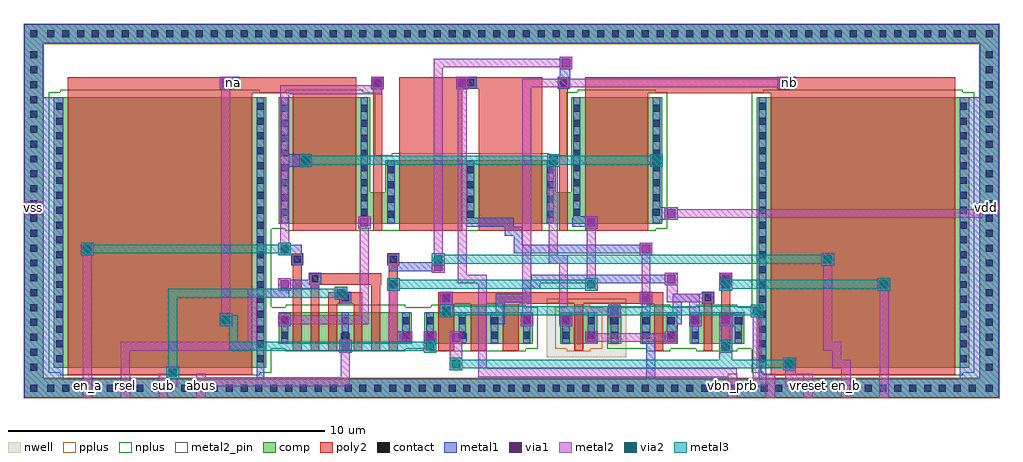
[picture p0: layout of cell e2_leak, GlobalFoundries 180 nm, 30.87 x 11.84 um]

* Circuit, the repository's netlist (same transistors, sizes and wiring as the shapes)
* LVS reference for e2_leak (layout/e2/e2gen.py): E2 leakage test cell, MIL-362
.subckt e2_leak vdd vss vreset abus vbn_prb grp_en clamp_en en_a en_b rsel sub
XMFA vdd na pa vss nfet_03v3 W=4u L=2u
XMEA pa en_a sa vss nfet_03v3 W=1u L=0.28u
XMBA sa vbn_prb vss vss nfet_03v3 W=2u L=2u
XMBB sb vbn_prb vss vss nfet_03v3 W=2u L=2u
XMEB pb en_b sb vss nfet_03v3 W=1u L=0.28u
XMFB vdd nb pb vss nfet_03v3 W=4u L=2u
XSCA pa en_a mca vss nfet_03v3 W=1u L=0.28u
XSWA mca rsel ma vss nfet_03v3 W=1u L=0.28u
XSBA ma sub abus vss nfet_03v3 W=1u L=0.28u
XSBB mb sub abus vss nfet_03v3 W=1u L=0.28u
XSWB mcb rsel mb vss nfet_03v3 W=1u L=0.28u
XSCB pb en_b mcb vss nfet_03v3 W=1u L=0.28u
XSA vreset grp_en na vss nfet_03v3 W=1u L=0.5u
XSB1 vreset grp_en mid vss nfet_03v3 W=1u L=0.5u
XSB2 mid grp_en nb vss nfet_03v3 W=1u L=0.5u
XPI gb grp_en vdd vdd pfet_03v3 W=1u L=0.28u
XNI gb grp_en vss vss nfet_03v3 W=1u L=0.28u
XNG cx gb mid vss nfet_03v3 W=1u L=0.28u
XNC vreset clamp_en cx vss nfet_03v3 W=1u L=0.28u
XCA vss na vss vss nfet_03v3 W=8.56u L=5.84u
XCB vss nb vss vss nfet_03v3 W=8.56u L=5.84u
.ends e2_leak

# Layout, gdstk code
import gdstk
lib = gdstk.Library(unit=1e-6, precision=1e-09)
def R(c, l, rs):  # rectangles x0, y0, x1, y1
    for r in rs: c.add(gdstk.rectangle(r[:2], r[2:], *l))
def A(c, l, x, y, w, h, nx, ny, dx, dy):  # array of equal rectangles
    R(c, l, [(x+i*dx, y+j*dy, x+i*dx+w, y+j*dy+h) for i in range(nx) for j in range(ny)])
nwell = (21, 0)
comp = (22, 0)
poly2 = (30, 0)
pplus = (31, 0)
nplus = (32, 0)
contact = (33, 0)
metal1 = (34, 0)
via1 = (35, 0)
metal2 = (36, 0)
metal2_pin = (36, 10)
via2 = (38, 0)
metal3 = (42, 0)

e2_leak = lib.new_cell('e2_leak')
R(e2_leak, nwell, [(16.53,1.27,19.04,3.13)])
R(e2_leak, comp, [(0,0,30.83,0.6), (0,0.6,0.6,11.2), (30.23,0.6,30.83,11.2), (0.94,0.94,7.66,9.5), (23.17,0.94,29.89,9.5), (8.06,1.7,12.26,2.7), (12.66,1.7,16.08,2.7), (16.96,1.7,18.12,2.7), (18.46,1.7,18.88,2.7), (19.49,1.7,20.65,2.7), (21.05,1.7,22.77,2.7), (8.06,5.5,20.18,6.5), (8.06,6.5,10.94,9.5), (11.42,6.5,16.82,7.5), (17.3,6.5,20.18,9.5), (0,11.2,30.83,11.8)])
A(e2_leak, poly2, 13.1, 1.48, 0.5, 1.49, 3, 1, 1.02, 0)
R(e2_leak, poly2, [(1.38,0.72,7.22,9.62), (23.61,0.72,29.45,9.62), (8.5,1.48,8.78,4.19), (9.06,1.48,9.34,3.57), (9.62,1.48,9.9,2.97), (10.42,1.48,10.7,2.97), (10.98,1.48,11.26,3.57), (11.54,1.48,11.82,4.19), (17.4,1.48,17.68,2.97), (19.93,1.48,20.21,2.97), (21.49,1.48,21.77,2.97), (22.05,1.48,22.33,3.58), (9.62,2.97,10.7,3.33), (13.1,2.97,20.21,3.33), (21.45,2.97,21.81,3.33), (9.02,3.57,11.3,3.93), (22.01,3.58,22.37,3.94), (8.46,4.19,8.82,4.55), (11.5,4.19,11.86,4.55), (8.5,5.28,10.5,9.62), (11.04,5.28,11.32,9.77), (11.86,5.28,13.86,9.77), (14.38,5.28,16.38,9.77), (16.92,5.28,17.2,9.77), (17.74,5.28,19.74,9.62), (1.38,9.62,10.5,10.13), (17.74,9.62,29.45,10.13), (11,9.77,11.36,10.13), (11.86,9.77,16.38,10.13), (16.88,9.77,17.24,10.13)])
R(e2_leak, pplus, [(-0.02,-0.02,30.85,0.62), (-0.02,0.62,0.62,11.18), (30.21,0.62,30.85,11.18), (17.17,1.47,17.91,1.54), (16.8,1.54,18.28,2.86), (17.17,2.86,17.91,2.93), (-0.02,11.18,30.85,11.82)])
R(e2_leak, nplus, [(1.15,0.71,7.45,0.78), (23.38,0.71,29.68,0.78), (0.78,0.78,7.82,1.54), (23.01,0.78,30.05,1.54), (8.27,1.47,12.05,1.54), (12.87,1.47,15.87,1.54), (19.7,1.47,20.44,1.54), (21.26,1.47,22.56,1.54), (0.78,1.54,16.24,2.86), (18.45,1.54,30.05,1.68), (18.44,1.68,30.05,2.72), (18.45,2.72,30.05,2.86), (0.78,2.86,7.82,5.34), (8.27,2.86,12.05,2.93), (12.87,2.86,15.87,2.93), (19.7,2.86,20.44,2.93), (21.26,2.86,22.56,2.93), (23.01,2.86,30.05,9.66), (8.27,5.27,19.97,5.34), (0.78,5.34,20.34,7.66), (0.78,7.66,11.1,9.66), (11.63,7.66,16.61,7.73), (17.14,7.66,20.34,9.66), (1.15,9.66,7.45,9.73), (8.27,9.66,10.73,9.73), (17.51,9.66,19.97,9.73), (23.38,9.66,29.68,9.73)])
A(e2_leak, contact, 0.735, 0.19, 0.22, 0.22, 63, 2, 0.47, 11.2)
A(e2_leak, contact, 0.19, 0.855, 0.22, 0.22, 1, 22, 0, 0.47)
A(e2_leak, contact, 30.42, 0.855, 0.22, 0.22, 1, 22, 0, 0.47)
A(e2_leak, contact, 1.01, 1.115, 0.22, 0.22, 1, 18, 0, 0.47)
A(e2_leak, contact, 7.37, 1.115, 0.22, 0.22, 1, 18, 0, 0.47)
A(e2_leak, contact, 23.24, 1.115, 0.22, 0.22, 1, 18, 0, 0.47)
A(e2_leak, contact, 29.6, 1.115, 0.22, 0.22, 1, 18, 0, 0.47)
A(e2_leak, contact, 8.13, 1.855, 0.22, 0.22, 3, 2, 1.92, 0.47)
A(e2_leak, contact, 12.73, 1.855, 0.22, 0.22, 4, 2, 1.02, 0.47)
A(e2_leak, contact, 11.49, 5.685, 0.22, 0.22, 3, 4, 2.52, 0.47)
A(e2_leak, contact, 8.13, 5.745, 0.22, 0.22, 1, 8, 0, 0.47)
A(e2_leak, contact, 10.65, 5.745, 0.22, 0.22, 1, 8, 0, 0.47)
A(e2_leak, contact, 17.37, 5.745, 0.22, 0.22, 1, 8, 0, 0.47)
A(e2_leak, contact, 19.89, 5.745, 0.22, 0.22, 1, 8, 0, 0.47)
A(e2_leak, contact, 11.07, 9.84, 0.22, 0.22, 3, 1, 2.94, 0)
R(e2_leak, contact, [(0.19,0.19,0.41,0.41), (30.42,0.19,30.64,0.41), (17.03,1.855,17.25,2.075), (17.83,1.855,18.05,2.075), (18.56,1.855,18.78,2.075), (19.56,1.855,19.78,2.075), (20.36,1.855,20.58,2.075), (21.12,1.855,21.34,2.075), (22.48,1.855,22.7,2.075), (17.03,2.325,17.25,2.545), (17.83,2.325,18.05,2.545), (18.56,2.325,18.78,2.545), (19.56,2.325,19.78,2.545), (20.36,2.325,20.58,2.545), (21.12,2.325,21.34,2.545), (22.48,2.325,22.7,2.545), (10.05,3.04,10.27,3.26), (13.24,3.04,13.46,3.26), (21.52,3.04,21.74,3.26), (9.09,3.64,9.31,3.86), (22.08,3.65,22.3,3.87), (8.53,4.26,8.75,4.48), (11.57,4.26,11.79,4.48), (6.51,9.84,6.73,10.06), (24.1,9.84,24.32,10.06), (0.19,11.39,0.41,11.61), (30.42,11.39,30.64,11.61)])
R(e2_leak, metal1, [(0,0,30.83,0.6), (0,0.6,1.235,9.49), (7.365,0.6,7.595,9.49), (19.68,0.6,19.96,1.71), (23.235,0.6,23.465,9.49), (29.595,0.6,30.83,9.49), (9.96,1.42,10.36,1.82), (11.88,1.7,12.28,2.1), (12.64,1.7,13.04,2.1), (13.46,1.7,13.86,1.71), (17.74,1.7,18.14,2.1), (20.27,1.7,20.67,2.1), (8.125,1.71,8.355,2.26), (13.46,1.71,13.975,1.76), (14.765,1.71,14.995,2.32), (15.785,1.71,16.015,2.26), (17.025,1.71,17.255,2.26), (18.555,1.71,18.785,2.32), (19.555,1.71,19.96,1.76), (21.115,1.71,21.345,2.26), (22.475,1.71,22.705,2.26), (13.46,1.76,14,2.04), (19.53,1.76,19.96,2.04), (10.02,1.82,10.3,2.04), (10.045,2.04,10.275,2.69), (13.46,2.04,13.975,2.1), (19.53,2.04,19.81,2.95), (11.965,2.1,12.195,2.69), (12.725,2.1,12.955,2.69), (13.745,2.1,13.975,2.69), (17.825,2.1,18.055,2.69), (20.33,2.1,20.67,2.32), (8.04,2.26,8.44,2.66), (15.7,2.26,16.1,2.66), (16.94,2.26,17.34,2.66), (21.03,2.26,21.43,2.66), (21.99,2.26,22.705,2.32), (14.74,2.32,15.2,2.6), (18.53,2.32,18.81,2.54), (20.33,2.32,20.8,2.6), (21.99,2.32,22.73,2.6), (18.47,2.54,18.87,2.94), (14.765,2.6,15.2,2.69), (20.355,2.6,20.8,2.69), (21.99,2.6,22.705,2.66), (8.125,2.66,8.355,2.69), (15.785,2.66,16.015,2.69), (17.025,2.66,17.255,2.69), (21.115,2.66,21.345,2.69), (22.475,2.66,22.705,2.69), (14.92,2.69,15.2,3.01), (20.52,2.69,20.8,3.01), (13.15,2.95,13.55,3.35), (19.47,2.95,19.87,3.35), (9.97,2.96,10.35,3.1), (21.44,2.96,21.82,3.01), (14.92,3.01,16.04,3.29), (20.52,3.01,21.82,3.29), (9.82,3.1,10.35,3.34), (15.76,3.29,16.04,3.44), (21.44,3.29,21.82,3.34), (9.82,3.34,10.22,3.5), (8.04,3.38,8.44,3.44), (8.04,3.44,9.34,3.56), (15.76,3.44,16.32,3.61), (20.27,3.55,20.67,3.61), (21.99,3.55,22.39,3.95), (8.04,3.56,9.39,3.72), (15.76,3.61,20.67,3.72), (8.04,3.72,8.44,3.78), (9.01,3.72,9.39,3.94), (16.04,3.72,20.67,3.89), (20.27,3.89,20.67,3.95), (12.9,3.94,13.3,4), (11.54,4,13.3,4.18), (8.45,4.18,8.83,4.5), (11.49,4.18,13.3,4.28), (11.49,4.28,11.87,4.56), (12.9,4.28,13.3,4.34), (8.04,4.5,8.83,4.56), (19.47,4.5,19.87,4.56), (8.04,4.56,8.78,4.84), (15.48,4.56,19.87,4.84), (8.04,4.84,8.44,4.9), (15.48,4.84,15.76,5.12), (19.47,4.84,19.87,4.9), (15.2,5.12,15.76,5.4), (10.56,5.34,10.96,5.74), (17.74,5.34,18.14,5.4), (13.98,5.4,15.48,5.68), (17.34,5.4,18.14,5.68), (8.125,5.51,8.355,7.3), (11.485,5.51,11.715,7.49), (16.525,5.51,16.755,7.49), (19.885,5.51,20.115,5.62), (19.885,5.62,20.67,5.68), (14.005,5.68,14.235,7.49), (17.365,5.68,18.14,5.74), (19.86,5.68,20.67,5.96), (10.645,5.74,10.875,9.49), (17.365,5.74,17.595,9.49), (19.885,5.96,20.67,6.02), (19.885,6.02,20.115,7.3), (8.125,7.3,9.1,7.36), (19.8,7.3,20.2,7.7), (8.1,7.36,9.1,7.64), (8.125,7.64,9.1,7.7), (8.125,7.7,8.355,9.49), (19.885,7.7,20.115,9.49), (0,9.49,0.6,11.2), (30.23,9.49,30.83,11.2), (6.18,9.75,6.58,9.76), (10.98,9.75,11.38,10.15), (13.66,9.75,14.06,9.76), (23.82,9.75,24.22,9.76), (6.18,9.76,6.81,10.14), (13.66,9.76,14.31,10.14), (16.87,9.76,17.25,9.81), (23.82,9.76,24.4,10.14), (16.87,9.81,17.28,10.14), (6.18,10.14,6.58,10.15), (13.66,10.14,14.06,10.15), (16.94,10.14,17.28,10.38), (23.82,10.14,24.22,10.15), (16.94,10.38,17.34,10.78), (0,11.2,30.83,11.8)])
A(e2_leak, via1, 8.11, 2.33, 0.26, 0.26, 1, 3, 0, 1.12)
R(e2_leak, via1, [(10.03,1.49,10.29,1.75), (11.95,1.77,12.21,2.03), (12.71,1.77,12.97,2.03), (13.53,1.77,13.79,2.03), (17.81,1.77,18.07,2.03), (20.34,1.77,20.6,2.03), (15.77,2.33,16.03,2.59), (17.01,2.33,17.27,2.59), (21.1,2.33,21.36,2.59), (22.06,2.33,22.32,2.59), (18.54,2.61,18.8,2.87), (13.22,3.02,13.48,3.28), (19.54,3.02,19.8,3.28), (9.89,3.17,10.15,3.43), (20.34,3.62,20.6,3.88), (22.06,3.62,22.32,3.88), (12.97,4.01,13.23,4.27), (19.54,4.57,19.8,4.83), (10.63,5.41,10.89,5.67), (17.81,5.41,18.07,5.67), (20.34,5.69,20.6,5.95), (0.17,5.87,0.43,6.13), (8.77,7.37,9.03,7.63), (19.87,7.37,20.13,7.63), (6.25,9.82,6.51,10.08), (11.05,9.82,11.31,10.08), (13.73,9.82,13.99,10.08), (23.89,9.82,24.15,10.08), (17.01,10.45,17.27,10.71)])
R(e2_leak, metal2, [(1.85,0,2.15,0.75), (3.05,0,3.35,0.75), (4.25,0,4.55,0.36), (5.45,0,5.75,0.36), (22.25,0,22.55,0.64), (23.45,0,23.75,0.36), (24.65,0,24.95,0.36), (25.85,0,26.15,0.75), (27.05,0,27.35,0.75), (4.25,0.36,4.84,0.58), (5.45,0.36,10.3,0.64), (23.04,0.36,23.75,0.75), (24.07,0.36,24.95,0.75), (4.25,0.58,4.9,0.75), (5.45,0.64,5.75,0.75), (10.02,0.64,10.3,1.42), (14.36,0.64,22.55,0.75), (1.86,0.75,2.14,4.5), (3.06,0.75,3.34,1.48), (4.5,0.75,4.9,0.98), (14.36,0.75,22.54,0.92), (23.04,0.75,23.32,2.54), (24.07,0.75,24.41,0.86), (25.85,0.75,26.14,0.92), (27.06,0.75,27.34,3.38), (13.46,0.86,13.86,2.1), (24.01,0.86,24.41,1.26), (14.36,0.92,14.64,3.61), (25.56,0.92,26.14,1.2), (25.56,1.2,25.84,1.48), (9.96,1.42,10.36,1.82), (12.64,1.42,13.04,2.1), (21.99,1.42,22.39,2.66), (3.06,1.48,7.36,1.76), (25.28,1.48,25.84,1.76), (11.88,1.7,12.28,1.76), (17.74,1.7,18.14,1.76), (20.27,1.7,20.67,1.76), (7.08,1.76,7.36,3.16), (11.54,1.76,12.28,2.1), (17.74,1.76,20.67,2.04), (25.28,1.76,25.56,4.17), (17.74,2.04,18.14,2.1), (20.27,2.04,20.67,2.1), (11.54,2.1,11.82,3.38), (6.18,2.26,6.58,2.66), (8.04,2.26,8.44,2.32), (15.7,2.26,16.1,2.66), (16.94,2.26,17.34,2.32), (21.03,2.26,21.43,2.66), (8.04,2.32,10.9,2.6), (16.92,2.32,17.34,2.6), (13.15,2.54,13.55,3.35), (18.47,2.54,18.87,2.6), (22.98,2.54,23.38,2.94), (8.04,2.6,8.44,2.66), (10.62,2.6,10.9,5.34), (16.92,2.6,18.87,2.88), (6.24,2.66,6.52,9.75), (15.76,2.66,16.04,9.81), (21.03,2.66,21.37,3.01), (16.92,2.88,17.2,4.23), (18.47,2.88,18.87,2.94), (19.47,2.95,19.87,3.35), (20.33,3.01,21.37,3.29), (9.82,3.1,10.22,3.5), (7.08,3.16,8.38,3.38), (20.33,3.29,20.67,3.55), (19.53,3.35,19.81,4.5), (7.08,3.38,8.44,3.44), (11.48,3.38,11.88,3.78), (17.74,3.38,18.14,3.78), (21.99,3.38,22.39,3.95), (27,3.38,27.4,3.78), (8.04,3.44,8.44,3.78), (20.27,3.55,20.67,3.95), (13.72,3.61,14.64,3.89), (17.8,3.78,18.08,5.34), (13.72,3.89,14,9.75), (12.9,3.94,13.3,4.57), (25.22,4.17,25.62,4.57), (16.6,4.23,17.2,4.51), (1.8,4.5,2.2,4.9), (8.04,4.5,8.44,4.9), (19.47,4.5,19.87,4.9), (16.6,4.51,16.88,7.3), (12.96,4.57,13.24,10.44), (8.1,4.9,8.38,9.6), (10.56,5.34,10.96,5.74), (17.74,5.34,18.14,5.74), (20.27,5.62,20.67,5.68), (20.27,5.68,30.32,5.85), (0,5.8,0.6,6.2), (20.27,5.85,30.83,5.96), (20.27,5.96,20.67,6.02), (30.03,5.96,30.83,6.15), (8.7,7.3,9.1,7.7), (16.54,7.3,16.94,7.7), (19.8,7.3,20.2,7.7), (8.1,9.6,11.32,9.75), (6.18,9.75,6.58,10.15), (8.1,9.75,11.38,9.88), (13.66,9.75,14.06,10.15), (23.82,9.75,24.22,9.81), (15.76,9.81,24.22,10.09), (10.98,9.88,11.38,10.15), (23.82,10.09,24.22,10.15), (16.94,10.38,17.34,10.44), (12.96,10.44,17.34,10.72), (16.94,10.72,17.34,10.78)])
A(e2_leak, metal2_pin, 1.85, 0, 0.3, 0.75, 4, 1, 1.2, 0)
A(e2_leak, metal2_pin, 22.25, 0, 0.3, 0.75, 5, 1, 1.2, 0)
R(e2_leak, metal2_pin, [(0,5.8,0.6,6.2), (30.03,5.85,30.83,6.15)])
R(e2_leak, via2, [(4.57,0.65,4.83,0.91), (13.53,0.93,13.79,1.19), (24.08,0.93,24.34,1.19), (12.71,1.49,12.97,1.75), (22.06,1.49,22.32,1.75), (6.25,2.33,6.51,2.59), (13.22,2.61,13.48,2.87), (23.05,2.61,23.31,2.87), (9.89,3.17,10.15,3.43), (11.55,3.45,11.81,3.71), (17.81,3.45,18.07,3.71), (22.06,3.45,22.32,3.71), (27.07,3.45,27.33,3.71), (12.97,4.24,13.23,4.5), (25.29,4.24,25.55,4.5), (1.87,4.57,2.13,4.83), (8.11,4.57,8.37,4.83), (8.77,7.37,9.03,7.63), (16.61,7.37,16.87,7.63), (19.87,7.37,20.13,7.63)])
R(e2_leak, metal3, [(4.5,0.58,4.9,0.98), (13.46,0.86,13.86,0.92), (24.01,0.86,24.41,0.92), (13.46,0.92,24.41,1.2), (4.56,0.98,4.84,3.16), (13.46,1.2,13.86,1.26), (21.99,1.2,22.39,1.82), (24.01,1.2,24.41,1.26), (12.64,1.42,13.04,1.48), (6.48,1.48,13.04,1.76), (6.48,1.76,6.76,2.26), (12.64,1.76,13.04,1.82), (6.18,2.26,6.76,2.6), (13.15,2.54,13.55,2.6), (22.98,2.54,23.38,2.6), (6.18,2.6,6.58,2.66), (13.15,2.6,23.38,2.88), (13.15,2.88,13.55,2.94), (22.98,2.88,23.38,2.94), (9.82,3.1,10.22,3.16), (4.56,3.16,10.22,3.44), (11.48,3.38,11.88,3.44), (17.74,3.38,18.14,3.44), (21.99,3.38,22.39,3.44), (27,3.38,27.4,3.44), (9.82,3.44,10.22,3.5), (11.48,3.44,18.14,3.72), (21.99,3.44,27.4,3.72), (11.48,3.72,11.88,3.78), (17.74,3.72,18.14,3.78), (21.99,3.72,22.39,3.78), (27,3.72,27.4,3.78), (12.9,4.17,13.3,4.23), (25.22,4.17,25.62,4.23), (12.9,4.23,25.62,4.51), (1.8,4.5,2.2,4.56), (8.04,4.5,8.44,4.56), (12.9,4.51,13.3,4.57), (25.22,4.51,25.62,4.57), (1.8,4.56,8.44,4.84), (1.8,4.84,2.2,4.9), (8.04,4.84,8.44,4.9), (8.7,7.3,9.1,7.36), (16.54,7.3,16.94,7.36), (19.8,7.3,20.2,7.36), (8.7,7.36,20.2,7.64), (8.7,7.64,9.1,7.7), (16.54,7.64,16.94,7.7), (19.8,7.64,20.2,7.7)])
e2_leak.add(gdstk.Label('na', (6.62,9.95), layer=34, texttype=0))
e2_leak.add(gdstk.Label('nb', (24.21,9.95), layer=34, texttype=0))
e2_leak.add(gdstk.Label('en_a', (2,0.375), layer=36, texttype=10))
e2_leak.add(gdstk.Label('rsel', (3.2,0.375), layer=36, texttype=10))
e2_leak.add(gdstk.Label('sub', (4.4,0.375), layer=36, texttype=10))
e2_leak.add(gdstk.Label('abus', (5.6,0.375), layer=36, texttype=10))
e2_leak.add(gdstk.Label('vbn_prb', (22.4,0.375), layer=36, texttype=10))
e2_leak.add(gdstk.Label('grp_en', (23.6,0.375), layer=36, texttype=10))
e2_leak.add(gdstk.Label('vreset', (24.8,0.375), layer=36, texttype=10))
e2_leak.add(gdstk.Label('en_b', (26,0.375), layer=36, texttype=10))
e2_leak.add(gdstk.Label('clamp_en', (27.2,0.375), layer=36, texttype=10))
e2_leak.add(gdstk.Label('vss', (0.3,6), layer=36, texttype=10))
e2_leak.add(gdstk.Label('vdd', (30.43,6), layer=36, texttype=10))

lib.write_gds('e2_leak.gds')
